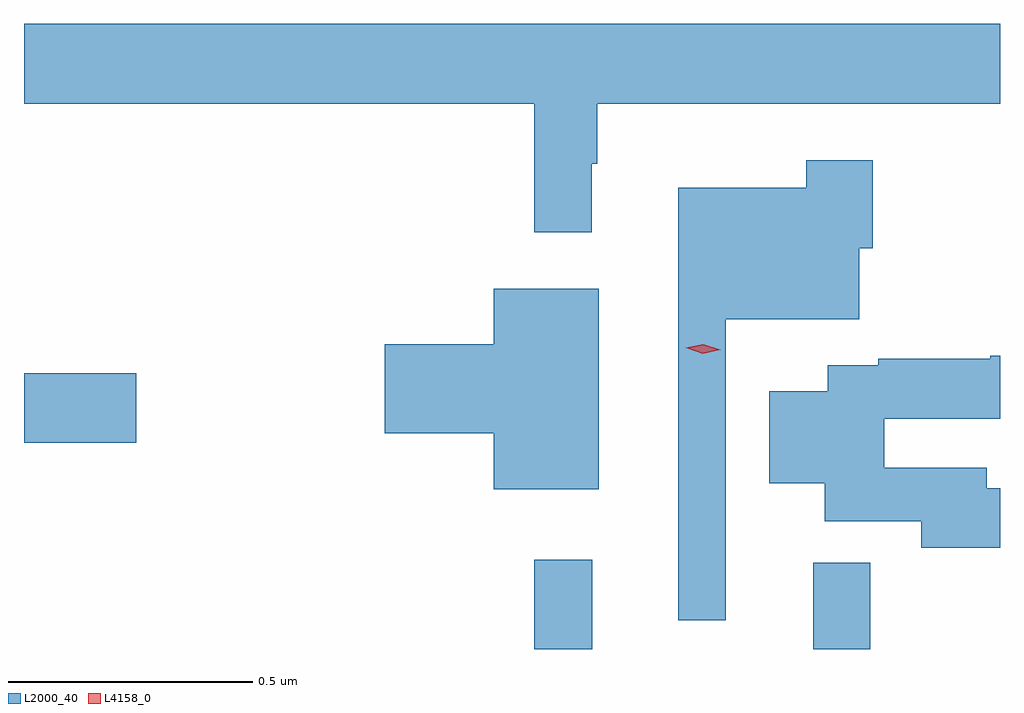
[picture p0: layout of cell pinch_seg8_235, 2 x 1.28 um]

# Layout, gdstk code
import gdstk
lib = gdstk.Library(unit=1e-6, precision=1e-09)
def R(c, l, rs):  # rectangles x0, y0, x1, y1
    for r in rs: c.add(gdstk.rectangle(r[:2], r[2:], *l))
def P(c, l, *ps):  # polygons
    for p in ps: c.add(gdstk.Polygon(p, *l))
L2000_40 = (2000, 40)
L4158_0 = (4158, 0)

pinch_seg8_235 = lib.new_cell('pinch_seg8_235')
R(pinch_seg8_235, L2000_40, [(697.795,1096.735,697.913,1096.918), (698.366,1096.735,698.483,1096.912), (696.749,1097.158,696.979,1097.3)])
P(pinch_seg8_235, L2000_40, [(697.912,1097.729),(697.924,1097.729),(697.924,1097.852),(698.749,1097.852),(698.749,1098.016),(696.749,1098.016),(696.749,1097.852),(697.795,1097.852),(697.795,1097.589),(697.912,1097.589)],
  [(698.187,1097.411),(698.461,1097.411),(698.461,1097.556),(698.488,1097.556),(698.488,1097.737),(698.352,1097.737),(698.352,1097.68),(698.09,1097.68),(698.09,1096.794),(698.187,1096.794)],
  [(697.927,1097.473),(697.712,1097.473),(697.712,1097.36),(697.488,1097.36),(697.488,1097.177),(697.712,1097.177),(697.712,1097.063),(697.927,1097.063)],
  [(698.749,1097.065),(698.722,1097.065),(698.722,1097.107),(698.512,1097.107),(698.512,1097.207),(698.749,1097.207),(698.749,1097.336),(698.729,1097.336),(698.729,1097.33),(698.5,1097.33),(698.5,1097.317),(698.396,1097.317),(698.396,1097.263),(698.276,1097.263),(698.276,1097.075),(698.39,1097.075),(698.39,1096.997),(698.588,1096.997),(698.588,1096.943),(698.749,1096.943)])
P(pinch_seg8_235, L4158_0, [(698.14,1097.34),(698.105,1097.352),(698.105,1097.352),(698.105,1097.352),(698.141,1097.36),(698.176,1097.348),(698.177,1097.348),(698.176,1097.348)])

lib.write_gds('pinch_seg8_235.gds')
